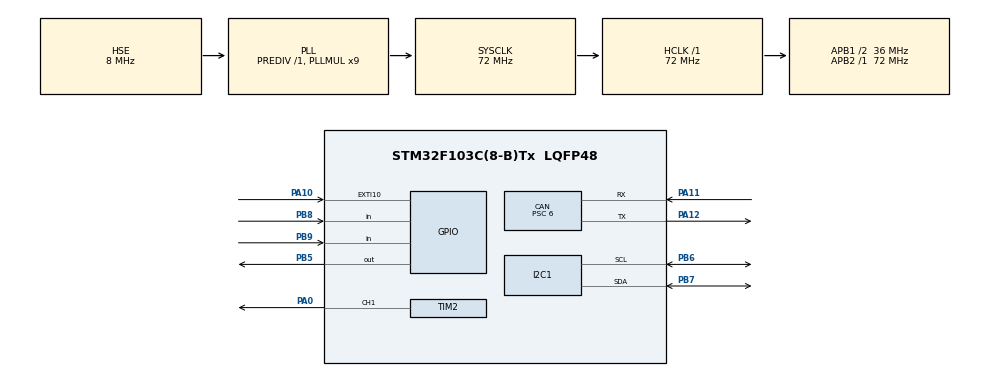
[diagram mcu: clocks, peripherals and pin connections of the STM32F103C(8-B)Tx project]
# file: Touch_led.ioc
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CAN.BS1=CAN_BS1_5TQ
CAN.BS2=CAN_BS2_2TQ
CAN.CalculateBaudRate=749999
CAN.CalculateTimeBit=1333
CAN.CalculateTimeQuantum=166.66666666666669
CAN.Prescaler=6
CAN.SJW=CAN_SJW_2TQ
Dma.Request0=TIM2_CH1
Dma.TIM2_CH1.0.Direction=DMA_MEMORY_TO_PERIPH
Dma.TIM2_CH1.0.Instance=DMA1_Channel5
Dma.TIM2_CH1.0.MemDataAlignment=DMA_MDATAALIGN_HALFWORD
Dma.TIM2_CH1.0.MemInc=DMA_MINC_ENABLE
Dma.TIM2_CH1.0.Mode=DMA_NORMAL
Dma.TIM2_CH1.0.PeriphDataAlignment=DMA_PDATAALIGN_HALFWORD
Dma.TIM2_CH1.0.PeriphInc=DMA_PINC_DISABLE
Dma.TIM2_CH1.0.Priority=DMA_PRIORITY_LOW
Mcu.Family=STM32F1
Mcu.Name=STM32F103C(8-B)Tx
Mcu.Package=LQFP48
NVIC.DMA1_Channel5_IRQn=true\:0\:0\:false\:false\:true\:false\:true\:true
NVIC.EXTI15_10_IRQn=true\:2\:0\:true\:false\:true\:true\:true\:true
NVIC.PriorityGroup=NVIC_PRIORITYGROUP_4
NVIC.TIM2_IRQn=true\:0\:0\:false\:false\:true\:true\:true\:true
PA0-WKUP.GPIO_Speed=GPIO_SPEED_FREQ_HIGH
PA0-WKUP.Signal=S_TIM2_CH1_ETR
PA10.GPIO_PuPd=GPIO_PULLDOWN
PA10.Signal=GPXTI10
PA11.Mode=CAN_Activate
PA11.Signal=CAN_RX
PA12.Mode=CAN_Activate
PA12.Signal=CAN_TX
PA13.Mode=Serial_Wire
PA13.Signal=SYS_JTMS-SWDIO
PA14.Mode=Serial_Wire
PA14.Signal=SYS_JTCK-SWCLK
PB5.GPIO_PuPd=GPIO_PULLUP
PB5.Signal=GPIO_Output
PB6.Mode=I2C
PB6.Signal=I2C1_SCL
PB7.Mode=I2C
PB7.Signal=I2C1_SDA
PB8.GPIO_Mode=GPIO_MODE_INPUT
PB8.GPIO_PuPd=GPIO_PULLDOWN
PB8.Signal=GPIO_Input
PB9.GPIO_Mode=GPIO_MODE_INPUT
PB9.GPIO_PuPd=GPIO_PULLDOWN
PB9.Signal=GPIO_Input
PD0-OSC_IN.Mode=HSE-External-Oscillator
PD0-OSC_IN.Signal=RCC_OSC_IN
PD1-OSC_OUT.Mode=HSE-External-Oscillator
PD1-OSC_OUT.Signal=RCC_OSC_OUT
ProjectManager.HeapSize=0x200
ProjectManager.StackSize=0x400
ProjectManager.TargetToolchain=CMake
RCC.AHBFreq_Value=72000000
RCC.APB1CLKDivider=RCC_HCLK_DIV2
RCC.APB1Freq_Value=36000000
RCC.APB1TimFreq_Value=72000000
RCC.APB2Freq_Value=72000000
RCC.APB2TimFreq_Value=72000000
RCC.HCLKFreq_Value=72000000
RCC.PLLMUL=RCC_PLL_MUL9
RCC.PLLSourceVirtual=RCC_PLLSOURCE_HSE
RCC.SYSCLKFreq_VALUE=72000000
RCC.SYSCLKSource=RCC_SYSCLKSOURCE_PLLCLK
RCC.USBFreq_Value=72000000
SH.S_TIM2_CH1_ETR.0=TIM2_CH1,PWM Generation1 CH1
TIM2.Channel-PWM\ Generation1\ CH1=TIM_CHANNEL_1
TIM2.Period=89
board=custom

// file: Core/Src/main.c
/* USER CODE BEGIN Header */
/**
  ******************************************************************************
  * @file           : main.c
  * @brief          : Main program body
  ******************************************************************************
  * @attention
  *
  * Copyright (c) 2026 STMicroelectronics.
  * All rights reserved.
  *
  * This software is licensed under terms that can be found in the LICENSE file
  * in the root directory of this software component.
  * If no LICENSE file comes with this software, it is provided AS-IS.
  *
  ******************************************************************************
  */
/* USER CODE END Header */
#include "main.h"
#include "can.h"
#include "dma.h"
#include "i2c.h"
#include "tim.h"
#include "gpio.h"

/* USER CODE BEGIN Includes */
#include "ws2812.h"
#include "vibration.h"
#include "oled.h"
#include "buzzer.h"
/* USER CODE END Includes */

/* USER CODE BEGIN PV */
/* 当前已显示的状态：0=熄灭 1=红 2=蓝，-1=未初始化（强制首次刷新） */
static int8_t led_state = -1;
/* OLED 上一次显示的振动计数，用于避免每轮循环都重绘；UINT32_MAX 强制首次刷新 */
static uint32_t oled_shown_count = 0xFFFFFFFFU;
/* USER CODE END PV */

void SystemClock_Config(void);

int main(void)
{

  /* MCU Configuration--------------------------------------------------------*/

  /* Reset of all peripherals, Initializes the Flash interface and the Systick. */
  HAL_Init();

  /* Configure the system clock */
  SystemClock_Config();

  /* Initialize all configured peripherals */
  MX_GPIO_Init();
  MX_DMA_Init();
  MX_TIM2_Init();
  MX_I2C1_Init();
  MX_CAN_Init();
  /* USER CODE BEGIN 2 */
  Vibration_Init();
  OLED_Init();
  Buzzer_Init();
  /* USER CODE END 2 */

  /* Infinite loop */
  while (1)
  {

    /* USER CODE BEGIN 3 */
    /* 读取开关：PB8 高 -> 红，PB9 高 -> 蓝，都不为高 -> 熄灭；同时为高时红色优先。 */
    int8_t want;
    if (HAL_GPIO_ReadPin(GPIOB, GPIO_PIN_8) == GPIO_PIN_SET)
    {
      want = 1;   /* 红 */
    }
    else if (HAL_GPIO_ReadPin(GPIOB, GPIO_PIN_9) == GPIO_PIN_SET)
    {
      want = 2;   /* 蓝 */
    }
    else
    {
      want = 0;   /* 灭 */
    }

    /* 仅在“状态发生变化”时刷新灯：避免每 20ms 重启 DMA 造成的反复闪烁；
       变化后再延时复测一次做去抖，过滤开关抖动/电平瞬时跌落。 */
    if (want != led_state)
    {
      HAL_Delay(20);   /* 去抖窗口 */

      int8_t confirm;
      if (HAL_GPIO_ReadPin(GPIOB, GPIO_PIN_8) == GPIO_PIN_SET)
      {
        confirm = 1;
      }
      else if (HAL_GPIO_ReadPin(GPIOB, GPIO_PIN_9) == GPIO_PIN_SET)
      {
        confirm = 2;
      }
      else
      {
        confirm = 0;
      }

      if (confirm == want)   /* 两次读数一致才认为稳定 */
      {
        switch (want)
        {
          case 1:  WS2812_SetAll(WS2812_RED);  break;
          case 2:  WS2812_SetAll(WS2812_BLUE); break;
          default: WS2812_Clear();             break;
        }
        WS2812_Send();
        led_state = want;
        /* 灯状态变化：上报给上位机 */
        CAN_SendStatus((uint8_t)led_state, Vibration_GetCount());
      }
    }

    /* 振动计数由 PA10 上升沿中断累加，这里只负责在计数变化时刷新 OLED 显示、蜂鸣一声 */
    uint32_t vib_count = Vibration_GetCount();
    if (vib_count != oled_shown_count)
    {
      OLED_ShowCount(vib_count);
      Buzzer_Beep();
      oled_shown_count = vib_count;
      /* 振动计数变化：上报给上位机 */
      CAN_SendStatus((uint8_t)led_state, vib_count);
    }
    Buzzer_Update();   /* 检测蜂鸣是否到时，到时则关闭 */

    HAL_Delay(10);   /* 轮询间隔 */
  }
  /* USER CODE END 3 */
}

void SystemClock_Config(void)
{
  RCC_OscInitTypeDef RCC_OscInitStruct = {0};
  RCC_ClkInitTypeDef RCC_ClkInitStruct = {0};

  /** Initializes the RCC Oscillators according to the specified parameters
  * in the RCC_OscInitTypeDef structure.
  */
  RCC_OscInitStruct.OscillatorType = RCC_OSCILLATORTYPE_HSE;
  RCC_OscInitStruct.HSEState = RCC_HSE_ON;
  RCC_OscInitStruct.HSEPredivValue = RCC_HSE_PREDIV_DIV1;
  RCC_OscInitStruct.HSIState = RCC_HSI_ON;
  RCC_OscInitStruct.PLL.PLLState = RCC_PLL_ON;
  RCC_OscInitStruct.PLL.PLLSource = RCC_PLLSOURCE_HSE;
  RCC_OscInitStruct.PLL.PLLMUL = RCC_PLL_MUL9;
  if (HAL_RCC_OscConfig(&RCC_OscInitStruct) != HAL_OK)
  {
    Error_Handler();
  }

  /** Initializes the CPU, AHB and APB buses clocks
  */
  RCC_ClkInitStruct.ClockType = RCC_CLOCKTYPE_HCLK|RCC_CLOCKTYPE_SYSCLK
                              |RCC_CLOCKTYPE_PCLK1|RCC_CLOCKTYPE_PCLK2;
  RCC_ClkInitStruct.SYSCLKSource = RCC_SYSCLKSOURCE_PLLCLK;
  RCC_ClkInitStruct.AHBCLKDivider = RCC_SYSCLK_DIV1;
  RCC_ClkInitStruct.APB1CLKDivider = RCC_HCLK_DIV2;
  RCC_ClkInitStruct.APB2CLKDivider = RCC_HCLK_DIV1;

  if (HAL_RCC_ClockConfig(&RCC_ClkInitStruct, FLASH_LATENCY_2) != HAL_OK)
  {
    Error_Handler();
  }
}

void Error_Handler(void)
{
  __disable_irq();
  while (1)
  {
  }
}
